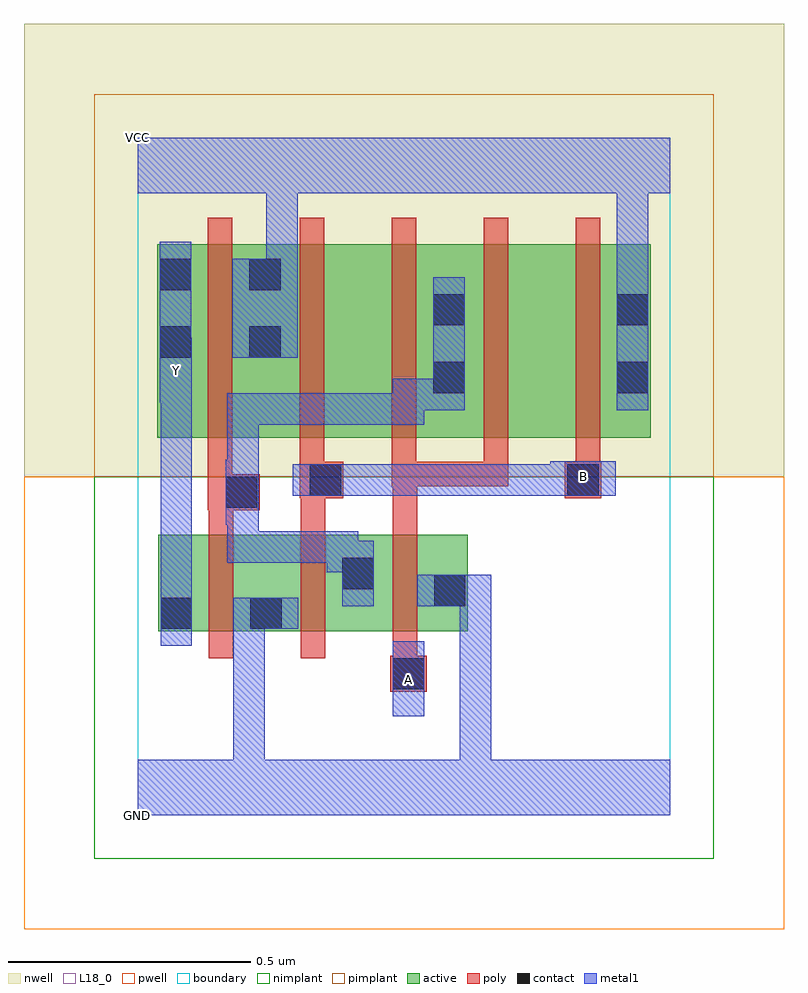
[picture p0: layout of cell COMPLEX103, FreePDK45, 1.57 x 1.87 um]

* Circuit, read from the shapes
.subckt COMPLEX103 A B GND VCC Y
M1 GND n1 Y VSUBS nfet w=0.2u l=0.05u
M2 n1 B GND VSUBS nfet w=0.2u l=0.05u
M3 GND A n1 VSUBS nfet w=0.2u l=0.05u
M4 VCC n1 Y n2 pfet w=0.4u l=0.05u
M5 n3 B VCC n2 pfet w=0.4u l=0.05u
M6 n1 A n3 n2 pfet w=0.4u l=0.05u
M7 n4 A n1 n2 pfet w=0.4u l=0.05u
M8 VCC B n4 n2 pfet w=0.4u l=0.05u
.ends

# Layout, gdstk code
import gdstk
lib = gdstk.Library(unit=1e-6, precision=1e-09)
def R(c, l, rs):  # rectangles x0, y0, x1, y1
    for r in rs: c.add(gdstk.rectangle(r[:2], r[2:], *l))
def A(c, l, x, y, w, h, nx, ny, dx, dy):  # array of equal rectangles
    R(c, l, [(x+i*dx, y+j*dy, x+i*dx+w, y+j*dy+h) for i in range(nx) for j in range(ny)])
active = (1, 0)
pwell = (2, 0)
nwell = (3, 0)
nimplant = (4, 0)
pimplant = (5, 0)
poly = (9, 0)
contact = (10, 0)
metal1 = (11, 0)
L18_0 = (18, 0)
boundary = (235, 0)

complex103 = lib.new_cell('COMPLEX103')
A(complex103, active, 0.227, 0.38, 0.075, 0.2, 3, 1, 0.19, 0)
R(complex103, active, [(0.042,0.38,0.117,0.58), (0.042,0.38,0.302,0.58), (0.227,0.38,0.492,0.58), (0.417,0.38,0.682,0.58), (0.04,0.78,0.115,1.155), (0.04,0.78,0.3,1.18), (0.225,0.78,0.455,1.18), (0.455,0.78,0.68,1.18), (0.605,0.78,0.68,1.155), (0.605,0.78,0.835,1.18), (0.835,0.78,1.06,1.18), (0.985,0.78,1.06,1.155), (0.225,0.907,0.3,1.155)])
R(complex103, pwell, [(-0.235,-0.235,1.335,0.7)])
R(complex103, nwell, [(-0.235,0.7,1.335,1.635)])
R(complex103, nimplant, [(-0.09,-0.09,1.19,0.7)])
R(complex103, pimplant, [(-0.09,0.7,1.19,1.49)])
A(complex103, poly, 0.147, 0.325, 0.05, 0.31, 3, 1, 0.19, 0)
A(complex103, poly, 0.335, 0.68, 0.05, 0.095, 4, 1, 0.19, 0)
A(complex103, poly, 0.145, 0.725, 0.05, 0.51, 5, 1, 0.19, 0)
R(complex103, poly, [(0.522,0.255,0.597,0.33), (0.527,0.28,0.577,0.375), (0.147,0.585,0.197,0.68), (0.337,0.585,0.387,0.705), (0.527,0.585,0.577,0.73), (0.145,0.63,0.252,0.705), (0.145,0.655,0.195,0.775), (0.335,0.655,0.425,0.73), (0.882,0.655,0.957,0.73), (0.525,0.68,0.577,0.73), (0.527,0.68,0.765,0.73), (0.715,0.68,0.765,0.73), (0.715,0.68,0.765,0.73), (0.715,0.68,0.765,0.73)])
R(complex103, contact, [(0.527,0.26,0.592,0.325), (0.047,0.385,0.112,0.45), (0.232,0.385,0.297,0.45), (0.612,0.432,0.677,0.497), (0.422,0.467,0.487,0.532), (0.182,0.635,0.247,0.7), (0.355,0.66,0.42,0.725), (0.887,0.66,0.952,0.725), (0.61,0.872,0.675,0.937), (0.99,0.872,1.055,0.937), (0.045,0.945,0.11,1.01), (0.23,0.945,0.295,1.01), (0.61,1.012,0.675,1.077), (0.99,1.012,1.055,1.077), (0.045,1.085,0.11,1.15), (0.23,1.085,0.295,1.15)])
R(complex103, metal1, [(0,0,1.1,0.115), (0.197,0.05,0.262,0.115), (0.197,0.05,0.262,0.115), (0.197,0.05,0.262,0.115), (0.197,0.05,0.262,0.115), (0.197,0.05,0.262,0.115), (0.197,0.05,0.262,0.115), (0.197,0.05,0.262,0.45), (0.665,0.05,0.73,0.497), (0.527,0.205,0.592,0.36), (0.047,0.35,0.112,0.485), (0.197,0.385,0.332,0.45), (0.047,0.42,0.112,0.917), (0.422,0.432,0.487,0.567), (0.577,0.432,0.73,0.497), (0.665,0.432,0.73,0.497), (0.665,0.432,0.73,0.497), (0.665,0.432,0.73,0.497), (0.665,0.432,0.73,0.497), (0.665,0.432,0.73,0.497), (0.665,0.432,0.73,0.497), (0.39,0.502,0.487,0.567), (0.39,0.502,0.455,0.587), (0.185,0.522,0.25,0.587), (0.185,0.522,0.455,0.587), (0.185,0.522,0.25,0.735), (0.182,0.6,0.247,0.735), (0.32,0.66,0.455,0.725), (0.39,0.66,0.455,0.725), (0.39,0.66,0.455,0.725), (0.39,0.66,0.592,0.725), (0.527,0.66,0.592,0.725), (0.527,0.66,0.78,0.725), (0.715,0.66,0.78,0.725), (0.715,0.66,0.78,0.725), (0.715,0.66,0.78,0.725), (0.715,0.66,0.917,0.725), (0.852,0.66,0.917,0.725), (0.852,0.66,0.917,0.725), (0.852,0.66,0.987,0.732), (0.182,0.67,0.247,0.735), (0.182,0.67,0.25,0.735), (0.185,0.67,0.25,0.872), (0.185,0.807,0.25,0.872), (0.185,0.807,0.455,0.872), (0.39,0.807,0.455,0.872), (0.39,0.807,0.455,0.872), (0.39,0.807,0.455,0.872), (0.39,0.807,0.592,0.872), (0.527,0.807,0.592,0.902), (0.527,0.837,0.675,0.902), (0.61,0.837,0.675,1.112), (0.99,0.837,1.055,1.112), (0.045,0.852,0.112,0.987), (0.045,0.91,0.11,1.185), (0.045,0.91,0.11,0.975), (0.195,0.945,0.33,1.15), (0.99,1.047,1.055,1.35), (0.265,1.085,0.33,1.35), (0,1.285,1.1,1.4)])
R(complex103, L18_0, [(0,0,1.1,0.115), (0.197,0.05,0.262,0.115), (0.197,0.05,0.262,0.115), (0.197,0.05,0.262,0.115), (0.197,0.05,0.262,0.115), (0.197,0.05,0.262,0.115), (0.197,0.05,0.262,0.115), (0.197,0.05,0.262,0.45), (0.665,0.05,0.73,0.497), (0.527,0.205,0.592,0.36), (0.527,0.247,0.592,0.312), (0.047,0.35,0.112,0.485), (0.197,0.385,0.332,0.45), (0.047,0.42,0.112,0.917), (0.577,0.432,0.73,0.497), (0.665,0.432,0.73,0.497), (0.665,0.432,0.73,0.497), (0.665,0.432,0.73,0.497), (0.665,0.432,0.73,0.497), (0.665,0.432,0.73,0.497), (0.665,0.432,0.73,0.497), (0.32,0.66,0.455,0.725), (0.39,0.66,0.455,0.725), (0.39,0.66,0.455,0.725), (0.39,0.66,0.592,0.725), (0.527,0.66,0.592,0.725), (0.527,0.66,0.78,0.725), (0.715,0.66,0.78,0.725), (0.715,0.66,0.78,0.725), (0.715,0.66,0.78,0.725), (0.715,0.66,0.917,0.725), (0.852,0.66,0.917,0.725), (0.852,0.66,0.917,0.725), (0.852,0.66,0.987,0.732), (0.887,0.667,0.952,0.732), (0.99,0.837,1.055,1.112), (0.045,0.852,0.112,0.987), (0.047,0.887,0.112,0.952), (0.045,0.91,0.11,1.185), (0.045,0.91,0.11,0.975), (0.195,0.945,0.33,1.15), (0.99,1.047,1.055,1.35), (0.265,1.085,0.33,1.35), (0,1.285,1.1,1.4)])
R(complex103, boundary, [(0,0,1.1,1.4)])
complex103.add(gdstk.Label('A', (0.56,0.28), layer=11, texttype=0))
complex103.add(gdstk.Label('B', (0.92,0.7), layer=11, texttype=0))
complex103.add(gdstk.Label('Y', (0.08,0.92), layer=11, texttype=0))
complex103.add(gdstk.Label('VCC', (0,1.4), layer=11, texttype=0))
complex103.add(gdstk.Label('GND', (0,0), layer=11, texttype=0))

lib.write_gds('COMPLEX103.gds')
